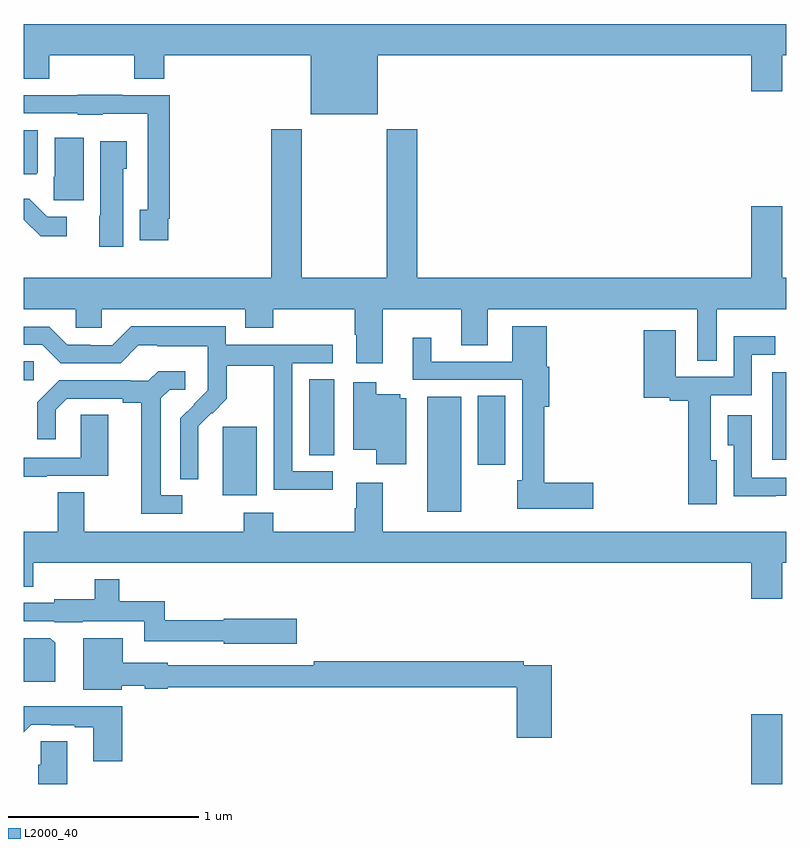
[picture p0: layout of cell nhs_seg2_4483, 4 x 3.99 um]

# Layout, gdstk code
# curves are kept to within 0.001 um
import gdstk
lib = gdstk.Library(unit=1e-6, precision=1e-09)
def R(c, l, rs):  # rectangles x0, y0, x1, y1
    for r in rs: c.add(gdstk.rectangle(r[:2], r[2:], *l))
def P(c, l, *ps):  # polygons
    for p in ps: c.add(gdstk.Polygon(p, *l))
L2000_40 = (2000, 40)

nhs_seg2_4483 = lib.new_cell('nhs_seg2_4483')
R(nhs_seg2_4483, L2000_40, [(356.816,655.8,356.98,656.167), (355.118,657.228,355.294,657.832), (354.044,657.314,354.223,657.675), (355.382,657.474,355.525,657.836), (356.927,657.501,357,657.961), (354.497,657.526,354.628,657.923), (353,657.918,353.053,658.019)])
P(nhs_seg2_4483, L2000_40, [(354.856,659.624),(356.816,659.624),(356.816,659.436),(356.98,659.436),(356.98,659.624),(357,659.624),(357,659.788),(353,659.788),(353,659.5),(353.133,659.5),(353.133,659.624),(353.578,659.624),(353.578,659.5),(353.738,659.5),(353.738,659.624),(354.506,659.624),(354.506,659.315),(354.856,659.315)],
  [(353.758,658.765),(353.765,658.765),(353.765,659.415),(353.515,659.415),(353.515,659.417),(353.283,659.417),(353.283,659.415),(353,659.415),(353,659.319),(353.283,659.319),(353.283,659.312),(353.415,659.312),(353.415,659.318),(353.649,659.318),(353.649,658.814),(353.609,658.814),(353.609,658.653),(353.758,658.653)],
  [(354.883,658.292),(355.295,658.292),(355.295,658.102),(355.435,658.102),(355.435,658.292),(356.534,658.292),(356.534,658.021),(356.635,658.021),(356.635,658.292),(357,658.292),(357,658.456),(356.98,658.456),(356.98,658.831),(356.816,658.831),(356.816,658.456),(355.064,658.456),(355.064,659.236),(354.904,659.236),(354.904,658.456),(354.459,658.456),(354.459,659.236),(354.299,659.236),(354.299,658.456),(353,658.456),(353,658.292),(353.271,658.292),(353.271,658.194),(353.409,658.194),(353.409,658.292),(354.161,658.292),(354.161,658.193),(354.309,658.193),(354.309,658.292),(354.736,658.292),(354.736,658.158),(354.743,658.158),(354.743,658.008),(354.883,658.008)],
  [(353.074,659.008),(353.074,659.23),(353,659.23),(353,659),(353.066,659)],
  [(353.314,659.191),(353.162,659.191),(353.162,658.986),(353.158,658.986),(353.158,658.863),(353.314,658.863)],
  [(353.521,659.028),(353.539,659.028),(353.539,659.173),(353.402,659.173),(353.402,658.782),(353.396,658.782),(353.396,658.62),(353.521,658.62)],
  [(353.224,658.776),(353.124,658.776),(353.029,658.871),(353,658.871),(353,658.762),(353.089,658.674),(353.224,658.674)],
  [(354.622,657.441),(354.408,657.441),(354.408,658.008),(354.622,658.008),(354.622,658.104),(354.06,658.104),(354.06,658.201),(353.563,658.201),(353.463,658.101),(353.348,658.101),(353.348,658.104),(353.229,658.104),(353.133,658.2),(353,658.2),(353,658.104),(353.097,658.104),(353.193,658.008),(353.508,658.008),(353.601,658.101),(353.701,658.101),(353.701,658.097),(353.964,658.097),(353.964,657.963),(353.966,657.963),(353.966,657.866),(353.82,657.718),(353.82,657.4),(353.916,657.4),(353.915,657.677),(353.985,657.747),(353.988,657.744),(354.065,657.821),(354.065,657.996),(354.31,657.996),(354.31,657.772),(354.312,657.772),(354.312,657.343),(354.622,657.343)],
  [(355.987,657.38),(355.73,657.38),(355.73,657.779),(355.757,657.779),(355.757,657.99),(355.744,657.99),(355.744,658.201),(355.562,658.201),(355.562,658.017),(355.138,658.017),(355.138,658.141),(355.04,658.141),(355.04,657.921),(355.614,657.921),(355.614,657.393),(355.588,657.393),(355.588,657.245),(355.987,657.245)],
  [(356.635,657.499),(356.605,657.499),(356.605,657.84),(356.82,657.84),(356.82,658.053),(356.944,658.053),(356.944,658.15),(356.724,658.15),(356.724,657.936),(356.422,657.936),(356.422,658.18),(356.252,658.18),(356.252,657.827),(356.388,657.827),(356.388,657.812),(356.487,657.812),(356.487,657.267),(356.635,657.267)],
  [(353.83,657.315),(353.719,657.315),(353.719,657.823),(353.766,657.87),(353.848,657.87),(353.848,657.967),(353.704,657.967),(353.652,657.915),(353.558,657.915),(353.558,657.918),(353.186,657.918),(353.07,657.802),(353.07,657.609),(353.167,657.609),(353.167,657.765),(353.224,657.822),(353.519,657.822),(353.519,657.8),(353.615,657.8),(353.615,657.219),(353.83,657.219)],
  [(355.006,657.825),(354.975,657.825),(354.975,657.844),(354.85,657.844),(354.85,657.907),(354.728,657.907),(354.728,657.554),(354.848,657.554),(354.848,657.477),(355.006,657.477)],
  [(353.119,657.417),(353.443,657.417),(353.443,657.737),(353.298,657.737),(353.298,657.513),(353,657.513),(353,657.413),(353.119,657.413)],
  [(356.945,657.312),(357,657.312),(357,657.408),(356.82,657.408),(356.82,657.736),(356.693,657.736),(356.693,657.577),(356.724,657.577),(356.724,657.311),(356.945,657.311)],
  [(354.154,657.223),(354.154,657.124),(353.317,657.124),(353.317,657.332),(353.177,657.332),(353.177,657.124),(353,657.124),(353,656.836),(353.049,656.836),(353.049,656.96),(356.816,656.96),(356.816,656.772),(356.98,656.772),(356.98,656.96),(357,656.96),(357,657.124),(354.883,657.124),(354.883,657.382),(354.743,657.382),(354.743,657.248),(354.736,657.248),(354.736,657.124),(354.309,657.124),(354.309,657.223)],
  [(354.433,656.667),(354.048,656.667),(354.048,656.659),(353.74,656.659),(353.74,656.759),(353.501,656.759),(353.501,656.875),(353.373,656.875),(353.373,656.77),(353.16,656.77),(353.16,656.751),(353,656.751),(353,656.655),(353.16,656.655),(353.16,656.648),(353.31,656.648),(353.31,656.654),(353.631,656.654),(353.631,656.55),(354.048,656.55),(354.048,656.537),(354.433,656.537)],
  [(353.164,656.54),(353.138,656.566),(353,656.566),(353,656.336),(353.164,656.336)],
  [(355.769,656.424),(355.622,656.424),(355.622,656.444),(354.52,656.444),(354.52,656.424),(353.754,656.424),(353.754,656.437),(353.518,656.437),(353.518,656.564),(353.312,656.564),(353.312,656.294),(353.514,656.294),(353.514,656.315),(353.634,656.315),(353.634,656.3),(353.754,656.3),(353.754,656.308),(355.586,656.308),(355.586,656.043),(355.769,656.043)],
  [(353.516,656.207),(353,656.207),(353,656.072),(353.04,656.112),(353.14,656.112),(353.14,656.109),(353.267,656.109),(353.267,656.097),(353.363,656.097),(353.363,655.92),(353.516,655.92)],
  [(353.227,656.024),(353.088,656.024),(353.088,655.902),(353.075,655.902),(353.075,655.8),(353.227,655.8)])

lib.write_gds('nhs_seg2_4483.gds')
